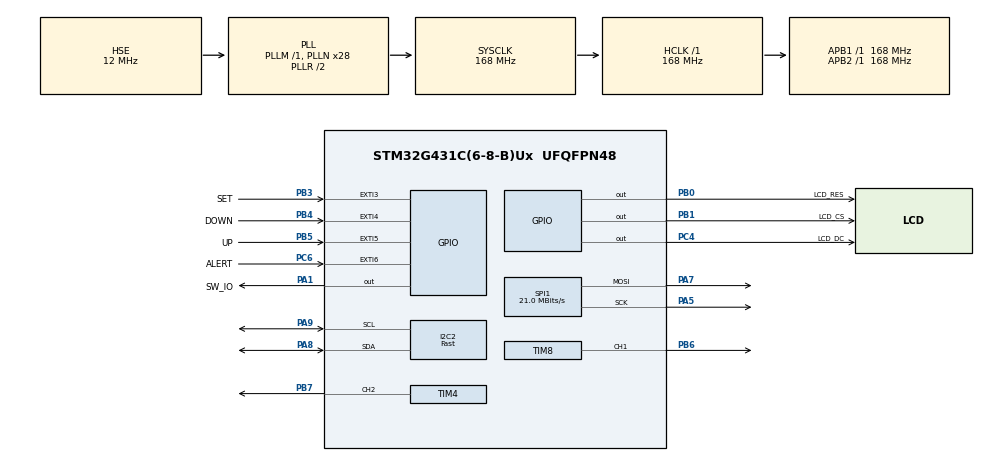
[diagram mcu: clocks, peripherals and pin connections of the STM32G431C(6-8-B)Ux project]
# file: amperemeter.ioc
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Dma.Request0=SPI1_TX
Dma.SPI1_TX.0.Direction=DMA_MEMORY_TO_PERIPH
Dma.SPI1_TX.0.EventEnable=DISABLE
Dma.SPI1_TX.0.Instance=DMA1_Channel1
Dma.SPI1_TX.0.MemDataAlignment=DMA_MDATAALIGN_BYTE
Dma.SPI1_TX.0.MemInc=DMA_MINC_ENABLE
Dma.SPI1_TX.0.Mode=DMA_NORMAL
Dma.SPI1_TX.0.PeriphDataAlignment=DMA_PDATAALIGN_BYTE
Dma.SPI1_TX.0.PeriphInc=DMA_PINC_DISABLE
Dma.SPI1_TX.0.Polarity=HAL_DMAMUX_REQ_GEN_RISING
Dma.SPI1_TX.0.Priority=DMA_PRIORITY_HIGH
Dma.SPI1_TX.0.RequestNumber=1
Dma.SPI1_TX.0.SignalID=NONE
Dma.SPI1_TX.0.SyncEnable=DISABLE
Dma.SPI1_TX.0.SyncPolarity=HAL_DMAMUX_SYNC_NO_EVENT
Dma.SPI1_TX.0.SyncRequestNumber=1
Dma.SPI1_TX.0.SyncSignalID=NONE
I2C2.I2C_Speed_Mode=I2C_Fast
I2C2.Timing=0x20501E65
Mcu.Family=STM32G4
Mcu.Name=STM32G431C(6-8-B)Ux
Mcu.Package=UFQFPN48
NVIC.DMA1_Channel1_IRQn=true\:0\:0\:false\:false\:true\:false\:true\:true
NVIC.EXTI3_IRQn=true\:0\:0\:false\:false\:true\:true\:true\:true
NVIC.EXTI4_IRQn=true\:0\:0\:false\:false\:true\:true\:true\:true
NVIC.EXTI9_5_IRQn=true\:0\:0\:false\:false\:true\:true\:true\:true
NVIC.PriorityGroup=NVIC_PRIORITYGROUP_4
NVIC.TIM6_DAC_IRQn=true\:0\:0\:false\:false\:true\:true\:true\:true
NVIC.TIM8_UP_IRQn=true\:0\:0\:false\:false\:true\:true\:true\:true
PA1.GPIO_Label=SW_IO
PA1.GPIO_ModeDefaultOutputPP=GPIO_MODE_OUTPUT_OD
PA1.GPIO_PuPd=GPIO_PULLUP
PA1.PinState=GPIO_PIN_SET
PA1.Signal=GPIO_Output
PA13.Mode=Serial_Wire
PA13.Signal=SYS_JTMS-SWDIO
PA14.Mode=Serial_Wire
PA14.Signal=SYS_JTCK-SWCLK
PA5.Mode=TX_Only_Simplex_Unidirect_Master
PA5.Signal=SPI1_SCK
PA7.Mode=TX_Only_Simplex_Unidirect_Master
PA7.Signal=SPI1_MOSI
PA8.GPIO_Pu=GPIO_PULLUP
PA8.Mode=I2C
PA8.Signal=I2C2_SDA
PA9.GPIO_Pu=GPIO_PULLUP
PA9.Mode=I2C
PA9.Signal=I2C2_SCL
PB0.GPIO_Label=LCD_RES
PB0.GPIO_Speed=GPIO_SPEED_FREQ_HIGH
PB0.Signal=GPIO_Output
PB1.GPIO_Label=LCD_CS
PB1.GPIO_Speed=GPIO_SPEED_FREQ_VERY_HIGH
PB1.PinState=GPIO_PIN_SET
PB1.Signal=GPIO_Output
PB3.GPIO_Label=SET
PB3.GPIO_ModeDefaultEXTI=GPIO_MODE_IT_RISING_FALLING
PB3.GPIO_PuPd=GPIO_PULLUP
PB3.Signal=GPXTI3
PB4.GPIO_Label=DOWN
PB4.GPIO_ModeDefaultEXTI=GPIO_MODE_IT_FALLING
PB4.GPIO_PuPd=GPIO_PULLUP
PB4.Signal=GPXTI4
PB5.GPIO_Label=UP
PB5.GPIO_ModeDefaultEXTI=GPIO_MODE_IT_FALLING
PB5.GPIO_PuPd=GPIO_PULLUP
PB5.Signal=GPXTI5
PB6.Signal=S_TIM8_CH1
PB7.Signal=S_TIM4_CH2
PC4.GPIO_Label=LCD_DC
PC4.GPIO_Speed=GPIO_SPEED_FREQ_VERY_HIGH
PC4.Signal=GPIO_Output
PC6.GPIO_Label=ALERT
PC6.GPIO_ModeDefaultEXTI=GPIO_MODE_IT_FALLING
PC6.GPIO_PuPd=GPIO_PULLUP
PC6.Signal=GPXTI6
PF0-OSC_IN.Mode=HSE-External-Oscillator
PF0-OSC_IN.Signal=RCC_OSC_IN
PF1-OSC_OUT.Mode=HSE-External-Oscillator
PF1-OSC_OUT.Signal=RCC_OSC_OUT
ProjectManager.HeapSize=0x200
ProjectManager.StackSize=0x400
ProjectManager.TargetToolchain=CMake
RCC.ADC12Freq_Value=168000000
RCC.AHBFreq_Value=168000000
RCC.APB1Freq_Value=168000000
RCC.APB1TimFreq_Value=168000000
RCC.APB2Freq_Value=168000000
RCC.APB2TimFreq_Value=168000000
RCC.CortexFreq_Value=168000000
RCC.EXTERNAL_CLOCK_VALUE=12288000
RCC.HCLKFreq_Value=168000000
RCC.HSE_VALUE=12000000
RCC.HSI48_VALUE=48000000
RCC.HSI_VALUE=16000000
RCC.LSE_VALUE=32768
RCC.PLLN=28
RCC.PLLSourceVirtual=RCC_PLLSOURCE_HSE
RCC.SYSCLKFreq_VALUE=168000000
RCC.SYSCLKSource=RCC_SYSCLKSOURCE_PLLCLK
RCC.USBFreq_Value=168000000
RCC.VCOOutputFreq_Value=336000000
SH.S_TIM4_CH2.0=TIM4_CH2,PWM Generation2 CH2
SH.S_TIM8_CH1.0=TIM8_CH1,PWM Generation1 CH1
SPI1.BaudRatePrescaler=SPI_BAUDRATEPRESCALER_8
SPI1.CalculateBaudRate=21.0 MBits/s
SPI1.DataSize=SPI_DATASIZE_8BIT
SPI1.Direction=SPI_DIRECTION_2LINES
SPI1.Mode=SPI_MODE_MASTER
SPI1.VirtualType=VM_MASTER
TIM4.Channel-PWM\ Generation2\ CH2=TIM_CHANNEL_2
TIM4.PeriodNoDither=999
TIM4.Prescaler=167
TIM6.PeriodNoDither=9999
TIM6.Prescaler=167
TIM8.Channel-PWM\ Generation1\ CH1=TIM_CHANNEL_1
TIM8.PeriodNoDither=999
TIM8.Prescaler=167
VP_SYS_VS_DBSignals.Mode=DisableDeadBatterySignals
VP_TIM4_VS_ClockSourceINT.Mode=Internal
VP_TIM6_VS_ClockSourceINT.Mode=Enable_Timer
VP_TIM8_VS_ClockSourceINT.Mode=Internal
board=custom

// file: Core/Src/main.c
/* USER CODE BEGIN Header */
/**
  ******************************************************************************
  * @file           : main.c
  * @brief          : Main program body
  ******************************************************************************
  * @attention
  *
  * Copyright (c) 2024 STMicroelectronics.
  * All rights reserved.
  *
  * This software is licensed under terms that can be found in the LICENSE file
  * in the root directory of this software component.
  * If no LICENSE file comes with this software, it is provided AS-IS.
  *
  ******************************************************************************
  */
/* USER CODE END Header */
#include "main.h"
#include "dma.h"
#include "i2c.h"
#include "spi.h"
#include "tim.h"
#include "gpio.h"

/* USER CODE BEGIN Includes */
#include "ina226.h"
#include "st7735.h"
#include "mygui.h"
#include "tim.h"
/* USER CODE END Includes */

void SystemClock_Config(void);

/* USER CODE BEGIN 0 */
extern uint32_t last_time;
/* USER CODE END 0 */

int main(void)
{

  /* MCU Configuration--------------------------------------------------------*/

  /* Reset of all peripherals, Initializes the Flash interface and the Systick. */
  HAL_Init();

  /* Configure the system clock */
  SystemClock_Config();

  /* Initialize all configured peripherals */
  MX_GPIO_Init();
  MX_DMA_Init();
  MX_SPI1_Init();
  MX_TIM4_Init();
  MX_TIM6_Init();
  MX_TIM8_Init();
  MX_I2C2_Init();

  /* Infinite loop */
  /* USER CODE BEGIN WHILE */
  uint16_t Config = INA226_AVG_16|INA226_VBUS_1100uS|INA226_VSH_1100uS|INA226_MODE_CONT_SHUNT_AND_BUS;
  INA226_SetConfig(Config);               //0100_010_100_100_111   //16次平均，1.1ms,1.1ms，连续转�??????
  //uint16_t Cal = 0.00512f/0.001f/0.001f;
  INA226_SetCalibrationReg(0x1400);       //电流分辨�??????1ma，采样电�??????1mΩ，cal = 0.00512/(0.001*0.001)，最大电�??????32.768A

  Mygui_init();
  HAL_TIM_Base_Start_IT(&htim6);
  HAL_TIM_Base_Start_IT(&htim8);
  HAL_TIM_PWM_Start(&htim8, TIM_CHANNEL_1);
  TIM8->CCR1 = 0;
  while (1)
  {
    /* USER CODE END WHILE */

    /* USER CODE BEGIN 3 */
    if(HAL_GetTick() - last_time > 500 && last_time != 0)
    {
      Button_Callback(Button_SET_l);
      last_time = 0;
    }
    Mygui_task();
    ST7735_Draw();
    HAL_Delay(20);
  }
  /* USER CODE END 3 */
}

void SystemClock_Config(void)
{
  RCC_OscInitTypeDef RCC_OscInitStruct = {0};
  RCC_ClkInitTypeDef RCC_ClkInitStruct = {0};

  /** Configure the main internal regulator output voltage
  */
  HAL_PWREx_ControlVoltageScaling(PWR_REGULATOR_VOLTAGE_SCALE1_BOOST);

  /** Initializes the RCC Oscillators according to the specified parameters
  * in the RCC_OscInitTypeDef structure.
  */
  RCC_OscInitStruct.OscillatorType = RCC_OSCILLATORTYPE_HSE;
  RCC_OscInitStruct.HSEState = RCC_HSE_ON;
  RCC_OscInitStruct.PLL.PLLState = RCC_PLL_ON;
  RCC_OscInitStruct.PLL.PLLSource = RCC_PLLSOURCE_HSE;
  RCC_OscInitStruct.PLL.PLLM = RCC_PLLM_DIV1;
  RCC_OscInitStruct.PLL.PLLN = 28;
  RCC_OscInitStruct.PLL.PLLP = RCC_PLLP_DIV2;
  RCC_OscInitStruct.PLL.PLLQ = RCC_PLLQ_DIV2;
  RCC_OscInitStruct.PLL.PLLR = RCC_PLLR_DIV2;
  if (HAL_RCC_OscConfig(&RCC_OscInitStruct) != HAL_OK)
  {
    Error_Handler();
  }

  /** Initializes the CPU, AHB and APB buses clocks
  */
  RCC_ClkInitStruct.ClockType = RCC_CLOCKTYPE_HCLK|RCC_CLOCKTYPE_SYSCLK
                              |RCC_CLOCKTYPE_PCLK1|RCC_CLOCKTYPE_PCLK2;
  RCC_ClkInitStruct.SYSCLKSource = RCC_SYSCLKSOURCE_PLLCLK;
  RCC_ClkInitStruct.AHBCLKDivider = RCC_SYSCLK_DIV1;
  RCC_ClkInitStruct.APB1CLKDivider = RCC_HCLK_DIV1;
  RCC_ClkInitStruct.APB2CLKDivider = RCC_HCLK_DIV1;

  if (HAL_RCC_ClockConfig(&RCC_ClkInitStruct, FLASH_LATENCY_4) != HAL_OK)
  {
    Error_Handler();
  }
}

void Error_Handler(void)
{
  __disable_irq();
  while (1)
  {
  }
}
